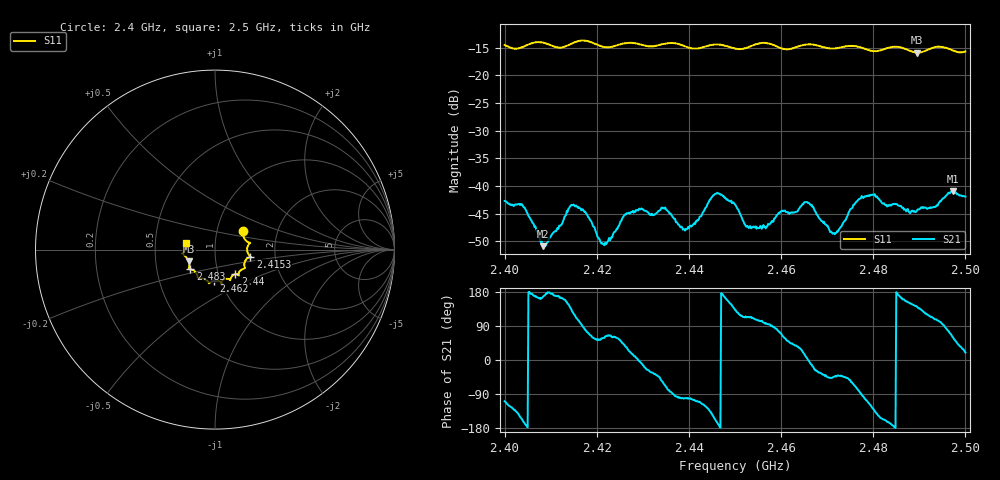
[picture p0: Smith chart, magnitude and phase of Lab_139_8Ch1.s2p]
# Hz S RI R 50
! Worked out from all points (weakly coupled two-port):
!   601 points, 2.4 GHz to 2.5 GHz, reference 50 ohm
!   highest |S21| = -40.91 dB at 2.4973 GHz (marker M1); lowest = -50.9 dB at 2.4083 GHz (marker M2)
!   lowest |S11| = -15.9 dB at 2.4895 GHz (marker M3), VSWR 1.38, Z = 36.9 - j5 ohm
!   |S11| at or under -10 dB: start of sweep to end of sweep
!   S12 and S22 are empty: the file has one direction only
!   S11 on the Smith chart (normalised r, x): 2.4 GHz: 1.33, +0.29; 2.4153 GHz: 1.48, -0.12; 2.44 GHz: 1.20, -0.34; 2.462 GHz: 0.93, -0.33; 2.483 GHz: 0.74, -0.17; 2.5 GHz: 0.72, +0.06
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2.4e9  0.1552 0.1063  -0.00237 -0.00694  0 0  0 0
2.404e9  0.1746 0.0478  -0.00622 -0.00206  0 0  0 0
2.408333e9  0.1944 0.0366  -0.00279 0.000647  0 0  0 0
2.415333e9  0.1965 -0.0385  -0.00287 0.00587  0 0  0 0
2.416667e9  0.2021 -0.0427  -0.000422 0.00601  0 0  0 0
2.4215e9  0.171 -0.0587  0.00156 0.00254  0 0  0 0
2.4265e9  0.1678 -0.1017  0.00475 0.00312  0 0  0 0
2.433333e9  0.1312 -0.1336  0.00433 -0.00404  0 0  0 0
2.44e9  0.1141 -0.1368  -0.000858 -0.00406  0 0  0 0
2.445833e9  0.0846 -0.1705  -0.00799 -0.00298  0 0  0 0
2.45e9  0.0647 -0.1625  -0.00457 0.00502  0 0  0 0
2.453333e9  0.0371 -0.1792  -0.00168 0.004  0 0  0 0
2.462e9  -0.00519 -0.1733  0.00409 0.00403  0 0  0 0
2.466667e9  -0.0342 -0.1874  0.00658 -0.00149  0 0  0 0
2.4715e9  -0.0642 -0.1628  0.0027 -0.00261  0 0  0 0
2.477167e9  -0.0964 -0.1518  0.000502 -0.0077  0 0  0 0
2.479833e9  -0.1087 -0.1257  -0.00503 -0.00668  0 0  0 0
2.483e9  -0.1377 -0.1096  -0.00625 -0.0019  0 0  0 0
2.483333e9  -0.1402 -0.1093  -0.00637 -0.00184  0 0  0 0
2.4895e9  -0.1465 -0.0659  -0.00467 0.00382  0 0  0 0
2.497333e9  -0.1675 -0.00307  0.0046 0.00774  0 0  0 0
2.5e9  -0.1599 0.039  0.00757 0.00271  0 0  0 0
